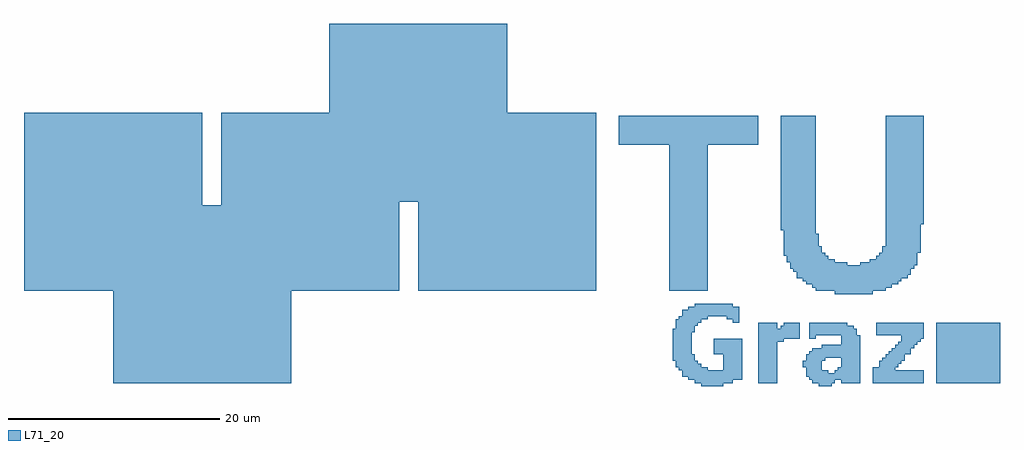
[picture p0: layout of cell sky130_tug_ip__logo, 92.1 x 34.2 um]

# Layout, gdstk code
import gdstk
lib = gdstk.Library(unit=1e-6, precision=1e-09)
def R(c, l, rs):  # rectangles x0, y0, x1, y1
    for r in rs: c.add(gdstk.rectangle(r[:2], r[2:], *l))
def P(c, l, *ps):  # polygons
    for p in ps: c.add(gdstk.Polygon(p, *l))
L71_20 = (71, 20)

sky130_tug_ip__logo = lib.new_cell('sky130_tug_ip__logo')
R(sky130_tug_ip__logo, L71_20, [(88.8,8.1,94.8,13.8)])
P(sky130_tug_ip__logo, L71_20, [(72,8.1),(72,13.8),(73.8,13.8),(73.8,13.2),(74.1,13.2),(74.1,13.5),(74.4,13.5),(74.4,13.8),(75.9,13.8),(75.9,12.3),(74.4,12.3),(74.4,12),(73.8,12),(73.8,8.1)],
  [(77.7,7.8),(77.7,8.1),(77.1,8.1),(77.1,8.4),(76.8,8.4),(76.8,8.7),(76.5,8.7),(76.5,9.6),(76.2,9.6),(76.2,10.2),(76.5,10.2),(76.5,10.5),(78.3,10.5),(78.3,10.2),(78,10.2),(78,9.3),(78.6,9.3),(78.6,9),(79.2,9),(79.2,9.3),(79.5,9.3),(79.5,9.6),(79.8,9.6),(79.8,10.5),(76.5,10.5),(76.5,10.8),(76.8,10.8),(76.8,11.1),(77.1,11.1),(77.1,11.4),(78,11.4),(78,11.7),(79.8,11.7),(79.8,12.6),(77.4,12.6),(77.4,12.3),(76.8,12.3),(76.8,13.8),(80.4,13.8),(80.4,13.5),(81,13.5),(81,13.2),(81.3,13.2),(81.3,12.6),(81.6,12.6),(81.6,8.1),(79.8,8.1),(79.8,8.4),(79.2,8.4),(79.2,8.1),(78.9,8.1),(78.9,7.8)],
  [(82.8,8.1),(82.8,9.6),(83.4,9.6),(83.4,10.2),(83.7,10.2),(83.7,10.5),(84,10.5),(84,10.8),(84.3,10.8),(84.3,11.1),(84.6,11.1),(84.6,11.4),(84.9,11.4),(84.9,11.7),(85.2,11.7),(85.2,12),(85.5,12),(85.5,12.6),(83.1,12.6),(83.1,13.8),(87.6,13.8),(87.6,12.3),(87.3,12.3),(87.3,12),(87,12),(87,11.7),(86.7,11.7),(86.7,11.4),(86.4,11.4),(86.4,10.8),(85.8,10.8),(85.8,10.2),(85.5,10.2),(85.5,9.9),(85.2,9.9),(85.2,9.6),(84.9,9.6),(84.9,9.3),(87.6,9.3),(87.6,8.1)],
  [(66.6,7.8),(66.6,8.1),(66,8.1),(66,8.4),(65.4,8.4),(65.4,8.7),(64.8,8.7),(64.8,9.3),(64.5,9.3),(64.5,9.6),(64.2,9.6),(64.2,10.2),(63.9,10.2),(63.9,13.2),(64.2,13.2),(64.2,14.1),(64.5,14.1),(64.5,14.4),(64.8,14.4),(64.8,15),(65.4,15),(65.4,15.3),(66,15.3),(66,15.6),(69.6,15.6),(69.6,15.3),(70.2,15.3),(70.2,13.8),(69.6,13.8),(69.6,14.1),(69,14.1),(69,14.4),(67.2,14.4),(67.2,14.1),(66.6,14.1),(66.6,13.8),(66.3,13.8),(66.3,13.5),(66,13.5),(66,12.9),(65.7,12.9),(65.7,10.8),(66,10.8),(66,10.2),(66.3,10.2),(66.3,9.9),(66.6,9.9),(66.6,9.6),(67.2,9.6),(67.2,9.3),(68.7,9.3),(68.7,10.8),(67.8,10.8),(67.8,12.3),(70.5,12.3),(70.5,8.4),(69.6,8.4),(69.6,8.1),(68.7,8.1),(68.7,7.8)],
  [(63.6,16.8),(63.6,30.6),(58.8,30.6),(58.8,33.3),(72,33.3),(72,30.6),(67.2,30.6),(67.2,16.8)],
  [(79.2,16.5),(79.2,16.8),(77.4,16.8),(77.4,17.1),(77.1,17.1),(77.1,17.4),(76.5,17.4),(76.5,17.7),(76.2,17.7),(76.2,18),(75.6,18),(75.6,18.6),(75.3,18.6),(75.3,18.9),(75,18.9),(75,19.5),(74.7,19.5),(74.7,20.1),(74.4,20.1),(74.4,22.5),(74.1,22.5),(74.1,33.3),(77.4,33.3),(77.4,22.2),(77.7,22.2),(77.7,21),(78,21),(78,20.4),(78.3,20.4),(78.3,20.1),(78.6,20.1),(78.6,19.8),(79.2,19.8),(79.2,19.5),(80.4,19.5),(80.4,19.2),(81.6,19.2),(81.6,19.5),(82.5,19.5),(82.5,19.8),(83.1,19.8),(83.1,20.1),(83.4,20.1),(83.4,20.4),(83.7,20.4),(83.7,21),(84,21),(84,33.3),(87.6,33.3),(87.6,23.1),(87.3,23.1),(87.3,20.4),(87,20.4),(87,19.2),(86.7,19.2),(86.7,18.9),(86.4,18.9),(86.4,18.3),(86.1,18.3),(86.1,18),(85.5,18),(85.5,17.7),(85.2,17.7),(85.2,17.4),(84.6,17.4),(84.6,17.1),(84,17.1),(84,16.8),(82.8,16.8),(82.8,16.5)],
  [(11.1,8.1),(11.1,16.8),(2.7,16.8),(2.7,33.6),(19.5,33.6),(19.5,24.9),(21.3,24.9),(21.3,33.6),(31.5,33.6),(31.5,42),(48.3,42),(48.3,33.6),(56.7,33.6),(56.7,16.8),(39.9,16.8),(39.9,25.2),(38.1,25.2),(38.1,16.8),(27.9,16.8),(27.9,8.1)])

lib.write_gds('sky130_tug_ip__logo.gds')
